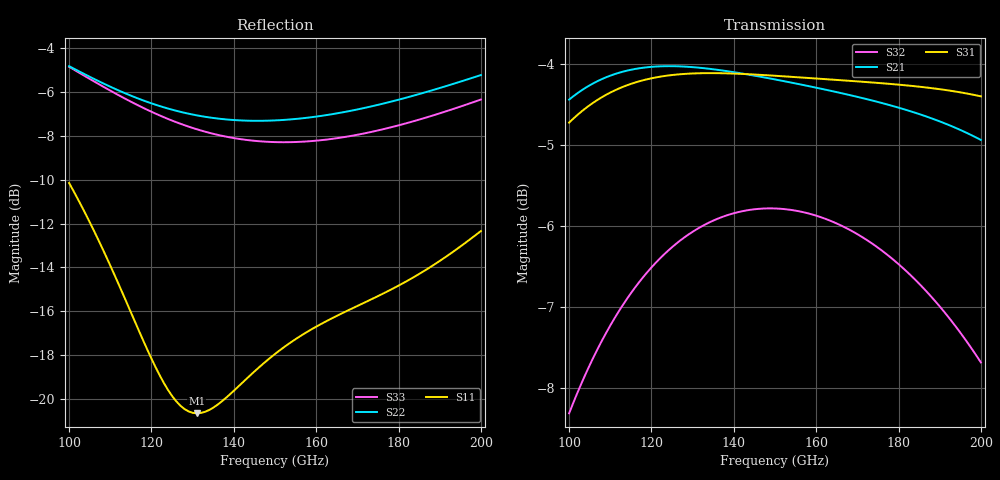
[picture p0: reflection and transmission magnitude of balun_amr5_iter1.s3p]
! Created with skrf 2.2.0 (http://scikit-rf.org).
# GHz S DB R 50.0
! Port[1] = P1
! Port[2] = P2
! Port[3] = P3
!freq dBS11 angS11 dBS12 angS12 dBS13 angS13
! dBS21 angS21 dBS22 angS22 dBS23 angS23
! dBS31 angS31 dBS32 angS32 dBS33 angS33
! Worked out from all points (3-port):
!   101 points, 100 GHz to 200 GHz, reference 50 ohm
!   strongest paths, dB at 100 GHz, 125 GHz, 150 GHz, 175 GHz, 200 GHz:
!     S31: -4.7, -4.1, -4.1, -4.2, -4.4
!     S21: -4.4, -4.0, -4.2, -4.5, -4.9
!     S32: -8.3, -6.3, -5.8, -6.3, -7.7
!   lowest |S11| = -20.6 dB at 131 GHz (marker M1), VSWR 1.20, Z = 41.7 + j1.76 ohm
!   |S11| at or under -10 dB: start of sweep to end of sweep
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100  -10.15 132.8  -4.44 -16.1  -4.73 159.4
     -4.44 -16.1  -4.83 60.0  -8.32 89.0
     -4.73 159.4  -8.32 89.0  -4.86 48.4
111  -14.33 128.4  -4.13 -33.4  -4.33 140.8
     -4.13 -33.4  -5.85 50.5  -7.15 71.5
     -4.33 140.8  -7.15 71.5  -6.05 36.7
123  -19.26 143.5  -4.03 -50.8  -4.15 122.1
     -4.03 -50.8  -6.71 41.7  -6.36 53.8
     -4.15 122.1  -6.36 53.8  -7.16 26.0
127  -20.29 154.8  -4.03 -56.2  -4.13 116.3
     -4.03 -56.2  -6.91 39.0  -6.18 48.2
     -4.13 116.3  -6.18 48.2  -7.45 22.8
131  -20.64 167.0  -4.05 -61.5  -4.12 110.6
     -4.05 -61.5  -7.07 36.3  -6.04 42.7
     -4.12 110.6  -6.04 42.7  -7.71 19.7
150  -17.94 -162.8  -4.19 -85.1  -4.15 85.2
     -4.19 -85.1  -7.30 22.9  -5.79 18.3
     -4.15 85.2  -5.79 18.3  -8.29 5.5
161  -16.59 -158.6  -4.31 -98.0  -4.19 71.4
     -4.31 -98.0  -7.10 14.3  -5.89 5.0
     -4.19 71.4  -5.89 5.0  -8.21 -3.0
173  -15.49 -155.5  -4.45 -111.9  -4.23 56.5
     -4.45 -111.9  -6.68 3.9  -6.20 -9.2
     -4.23 56.5  -6.20 -9.2  -7.84 -13.0
187  -14.07 -152.2  -4.66 -128.4  -4.29 39.2
     -4.66 -128.4  -6.00 -9.3  -6.82 -25.6
     -4.29 39.2  -6.82 -25.6  -7.16 -25.4
200  -12.34 -151.7  -4.94 -144.1  -4.40 22.7
     -4.94 -144.1  -5.24 -22.4  -7.69 -40.8
     -4.40 22.7  -7.69 -40.8  -6.35 -37.8
